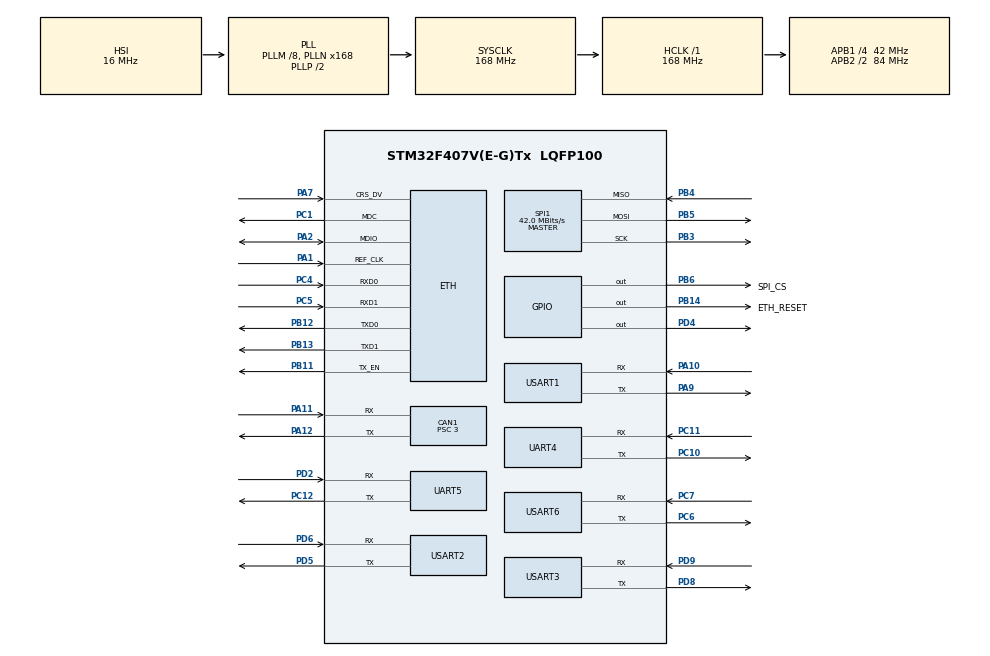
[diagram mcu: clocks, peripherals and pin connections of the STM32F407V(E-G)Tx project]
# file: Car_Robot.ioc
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CAN1.BS1=CAN_BS1_11TQ
CAN1.BS2=CAN_BS2_2TQ
CAN1.CalculateBaudRate=1000000
CAN1.CalculateTimeBit=1000
CAN1.CalculateTimeQuantum=71.42857142857143
CAN1.Prescaler=3
CAN1.SJW=CAN_SJW_1TQ
Dma.Request0=USART2_RX
Dma.USART2_RX.0.Direction=DMA_PERIPH_TO_MEMORY
Dma.USART2_RX.0.FIFOMode=DMA_FIFOMODE_DISABLE
Dma.USART2_RX.0.Instance=DMA1_Stream5
Dma.USART2_RX.0.MemDataAlignment=DMA_MDATAALIGN_BYTE
Dma.USART2_RX.0.MemInc=DMA_MINC_ENABLE
Dma.USART2_RX.0.Mode=DMA_NORMAL
Dma.USART2_RX.0.PeriphDataAlignment=DMA_PDATAALIGN_BYTE
Dma.USART2_RX.0.PeriphInc=DMA_PINC_DISABLE
Dma.USART2_RX.0.Priority=DMA_PRIORITY_LOW
ETH.MediaInterface=HAL_ETH_RMII_MODE
FREERTOS.Tasks01=defaultTask,24,256,StartDefaultTask,Default,NULL,Dynamic,NULL,NULL
FREERTOS.configCHECK_FOR_STACK_OVERFLOW=2
FREERTOS.configTOTAL_HEAP_SIZE=32768
FREERTOS.configUSE_MALLOC_FAILED_HOOK=1
LWIP.BSP.number=1
LWIP.ETH_RX_BUFFER_CNT=16
LWIP.GATEWAY_ADDRESS=192.168.100.001
LWIP.IP_ADDRESS=192.168.001.002
LWIP.LWIP_DHCP=0
LWIP.MEM_SIZE=16384
LWIP.NETMASK_ADDRESS=255.255.255.000
LWIP.TCPIP_THREAD_STACKSIZE=2048
LWIP.TCP_WND=4096
LWIP.Version=v2.1.2_Cube
LWIP0.BSP.STBoard=false
LWIP0.BSP.api=BSP_COMPONENT_DRIVER
LWIP0.BSP.component=LAN8742
LWIP0.BSP.instance=LAN8742
LWIP0.BSP.name=Driver_PHY
LWIP0.BSP.semaphore=S_LAN8742
LWIP0.BSP.solution=LAN8742
Mcu.Family=STM32F4
Mcu.Name=STM32F407V(E-G)Tx
Mcu.Package=LQFP100
NVIC.CAN1_RX0_IRQn=true\:5\:0\:false\:false\:true\:true\:true\:true\:true
NVIC.DMA1_Stream5_IRQn=true\:5\:0\:false\:false\:true\:true\:false\:true\:true
NVIC.ETH_IRQn=true\:5\:0\:false\:false\:true\:true\:true\:true\:true
NVIC.PriorityGroup=NVIC_PRIORITYGROUP_4
NVIC.TIM6_DAC_IRQn=true\:15\:0\:false\:false\:true\:false\:false\:true\:true
NVIC.TimeBase=TIM6_DAC_IRQn
NVIC.TimeBaseIP=TIM6
NVIC.UART4_IRQn=true\:5\:0\:false\:false\:true\:true\:true\:true\:true
NVIC.UART5_IRQn=true\:5\:0\:false\:false\:true\:true\:true\:true\:true
NVIC.USART1_IRQn=true\:5\:0\:false\:false\:true\:true\:true\:true\:true
NVIC.USART2_IRQn=true\:5\:0\:false\:false\:true\:true\:true\:true\:true
NVIC.USART3_IRQn=true\:5\:0\:false\:false\:true\:true\:true\:true\:true
NVIC.USART6_IRQn=true\:5\:0\:false\:false\:true\:true\:true\:true\:true
PA1.Mode=RMII
PA1.Signal=ETH_REF_CLK
PA10.Mode=Asynchronous
PA10.Signal=USART1_RX
PA11.Mode=CAN_Activate
PA11.Signal=CAN1_RX
PA12.Mode=CAN_Activate
PA12.Signal=CAN1_TX
PA13.Mode=Serial_Wire
PA13.Signal=SYS_JTMS-SWDIO
PA14.Mode=Serial_Wire
PA14.Signal=SYS_JTCK-SWCLK
PA2.Mode=RMII
PA2.Signal=ETH_MDIO
PA7.Mode=RMII
PA7.Signal=ETH_CRS_DV
PA9.Mode=Asynchronous
PA9.Signal=USART1_TX
PB11.Mode=RMII
PB11.Signal=ETH_TX_EN
PB12.Mode=RMII
PB12.Signal=ETH_TXD0
PB13.Mode=RMII
PB13.Signal=ETH_TXD1
PB14.GPIO_Label=ETH_RESET
PB14.GPIO_PuPd=GPIO_PULLUP
PB14.GPIO_Speed=GPIO_SPEED_FREQ_VERY_HIGH
PB14.PinState=GPIO_PIN_SET
PB14.Signal=GPIO_Output
PB3.Mode=Full_Duplex_Master
PB3.Signal=SPI1_SCK
PB4.Mode=Full_Duplex_Master
PB4.Signal=SPI1_MISO
PB5.Mode=Full_Duplex_Master
PB5.Signal=SPI1_MOSI
PB6.GPIO_Label=SPI_CS
PB6.Signal=GPIO_Output
PC1.Mode=RMII
PC1.Signal=ETH_MDC
PC10.Mode=Asynchronous
PC10.Signal=UART4_TX
PC11.Mode=Asynchronous
PC11.Signal=UART4_RX
PC12.Mode=Asynchronous
PC12.Signal=UART5_TX
PC4.Mode=RMII
PC4.Signal=ETH_RXD0
PC5.Mode=RMII
PC5.Signal=ETH_RXD1
PC6.Mode=Asynchronous
PC6.Signal=USART6_TX
PC7.Mode=Asynchronous
PC7.Signal=USART6_RX
PD2.Mode=Asynchronous
PD2.Signal=UART5_RX
PD4.Signal=GPIO_Output
PD5.Mode=Asynchronous
PD5.Signal=USART2_TX
PD6.Mode=Asynchronous
PD6.Signal=USART2_RX
PD8.Mode=Asynchronous
PD8.Signal=USART3_TX
PD9.Mode=Asynchronous
PD9.Signal=USART3_RX
PH0-OSC_IN.Mode=HSE-External-Oscillator
PH0-OSC_IN.Signal=RCC_OSC_IN
PH1-OSC_OUT.Mode=HSE-External-Oscillator
PH1-OSC_OUT.Signal=RCC_OSC_OUT
ProjectManager.HeapSize=0x200
ProjectManager.StackSize=0x400
ProjectManager.TargetToolchain=MDK-ARM V5.32
RCC.48MHZClocksFreq_Value=84000000
RCC.AHBFreq_Value=168000000
RCC.APB1CLKDivider=RCC_HCLK_DIV4
RCC.APB1Freq_Value=42000000
RCC.APB1TimFreq_Value=84000000
RCC.APB2CLKDivider=RCC_HCLK_DIV2
RCC.APB2Freq_Value=84000000
RCC.APB2TimFreq_Value=168000000
RCC.CortexFreq_Value=168000000
RCC.HCLKFreq_Value=168000000
RCC.HSE_VALUE=8000000
RCC.HSI_VALUE=16000000
RCC.LSE_VALUE=32768
RCC.PLLM=8
RCC.PLLN=168
RCC.SYSCLKFreq_VALUE=168000000
RCC.SYSCLKSource=RCC_SYSCLKSOURCE_PLLCLK
RCC.VCOOutputFreq_Value=336000000
SPI1.CalculateBaudRate=42.0 MBits/s
SPI1.Direction=SPI_DIRECTION_2LINES
SPI1.Mode=SPI_MODE_MASTER
SPI1.VirtualType=VM_MASTER
UART4.VirtualMode=Asynchronous
UART5.VirtualMode=Asynchronous
USART1.VirtualMode=VM_ASYNC
USART2.VirtualMode=VM_ASYNC
USART3.VirtualMode=VM_ASYNC
USART6.VirtualMode=VM_ASYNC
VP_FREERTOS_VS_CMSIS_V2.Mode=CMSIS_V2
VP_LWIP_VS_Enabled.Mode=Enabled
VP_SYS_VS_tim6.Mode=TIM6
board=custom

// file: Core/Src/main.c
/* USER CODE BEGIN Header */
/**
  ******************************************************************************
  * @file           : main.c
  * @brief          : Main program body
  ******************************************************************************
  * @attention
  *
  * Copyright (c) 2026 STMicroelectronics.
  * All rights reserved.
  *
  * This software is licensed under terms that can be found in the LICENSE file
  * in the root directory of this software component.
  * If no LICENSE file comes with this software, it is provided AS-IS.
  *
  ******************************************************************************
  */
/* USER CODE END Header */
#include "main.h"
#include "cmsis_os.h"
#include "can.h"
#include "dma.h"
#include "lwip.h"
#include "spi.h"
#include "usart.h"
#include "gpio.h"

/* USER CODE BEGIN Includes */
#include <stdio.h>
/* USER CODE END Includes */

void SystemClock_Config(void);
void MX_FREERTOS_Init(void);

int main(void)
{

  /* MCU Configuration--------------------------------------------------------*/

  /* Reset of all peripherals, Initializes the Flash interface and the Systick. */
  HAL_Init();

  /* Configure the system clock */
  SystemClock_Config();

  /* Initialize all configured peripherals */
  MX_GPIO_Init();
  MX_DMA_Init();
  MX_CAN1_Init();
  MX_UART4_Init();
  MX_UART5_Init();
  MX_USART1_UART_Init();
  MX_USART2_UART_Init();
  MX_USART3_UART_Init();
  MX_SPI1_Init();
  MX_USART6_UART_Init();

  /* Init scheduler */
  osKernelInitialize();  /* Call init function for freertos objects (in cmsis_os2.c) */
  MX_FREERTOS_Init();

  /* Start scheduler */
  osKernelStart();

  /* We should never get here as control is now taken by the scheduler */

  /* Infinite loop */
  while (1)
  {

  }
}

void SystemClock_Config(void)
{
  RCC_OscInitTypeDef RCC_OscInitStruct = {0};
  RCC_ClkInitTypeDef RCC_ClkInitStruct = {0};

  /** Configure the main internal regulator output voltage
  */
  __HAL_RCC_PWR_CLK_ENABLE();
  __HAL_PWR_VOLTAGESCALING_CONFIG(PWR_REGULATOR_VOLTAGE_SCALE1);

  /** Initializes the RCC Oscillators according to the specified parameters
  * in the RCC_OscInitTypeDef structure.
  */
  RCC_OscInitStruct.OscillatorType = RCC_OSCILLATORTYPE_HSI;
  RCC_OscInitStruct.HSIState = RCC_HSI_ON;
  RCC_OscInitStruct.HSICalibrationValue = RCC_HSICALIBRATION_DEFAULT;
  RCC_OscInitStruct.PLL.PLLState = RCC_PLL_ON;
  RCC_OscInitStruct.PLL.PLLSource = RCC_PLLSOURCE_HSI;
  RCC_OscInitStruct.PLL.PLLM = 8;
  RCC_OscInitStruct.PLL.PLLN = 168;
  RCC_OscInitStruct.PLL.PLLP = RCC_PLLP_DIV2;
  RCC_OscInitStruct.PLL.PLLQ = 4;
  if (HAL_RCC_OscConfig(&RCC_OscInitStruct) != HAL_OK)
  {
    Error_Handler();
  }

  /** Initializes the CPU, AHB and APB buses clocks
  */
  RCC_ClkInitStruct.ClockType = RCC_CLOCKTYPE_HCLK|RCC_CLOCKTYPE_SYSCLK
                              |RCC_CLOCKTYPE_PCLK1|RCC_CLOCKTYPE_PCLK2;
  RCC_ClkInitStruct.SYSCLKSource = RCC_SYSCLKSOURCE_PLLCLK;
  RCC_ClkInitStruct.AHBCLKDivider = RCC_SYSCLK_DIV1;
  RCC_ClkInitStruct.APB1CLKDivider = RCC_HCLK_DIV4;
  RCC_ClkInitStruct.APB2CLKDivider = RCC_HCLK_DIV2;

  if (HAL_RCC_ClockConfig(&RCC_ClkInitStruct, FLASH_LATENCY_5) != HAL_OK)
  {
    Error_Handler();
  }
}

/* USER CODE BEGIN 4 */

struct __FILE
{
  int handle;
  /* Whatever you require here. If the only file you are using is */
  /* standard output using printf() for debugging, no file handling */
  /* is required. */
};
/* FILE is typedef'd in stdio.h. */
FILE __stdout;
int fputc(int ch, FILE *f)
{
  /* Your implementation of fputc(). */
	HAL_UART_Transmit(&huart1,(uint8_t *)&ch,1,HAL_MAX_DELAY);
  return ch;
}

/* USER CODE END 4 */

void HAL_TIM_PeriodElapsedCallback(TIM_HandleTypeDef *htim)
{
  if (htim->Instance == TIM6)
  {
    HAL_IncTick();
  }
}

void Error_Handler(void)
{
  __disable_irq();
  while (1)
  {
  }
}

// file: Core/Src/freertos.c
/* USER CODE BEGIN Header */
/**
  ******************************************************************************
  * File Name          : freertos.c
  * Description        : Code for freertos applications
  ******************************************************************************
  * @attention
  *
  * Copyright (c) 2026 STMicroelectronics.
  * All rights reserved.
  *
  * This software is licensed under terms that can be found in the LICENSE file
  * in the root directory of this software component.
  * If no LICENSE file comes with this software, it is provided AS-IS.
  *
  ******************************************************************************
  */
/* USER CODE END Header */

#include "FreeRTOS.h"
#include "task.h"
#include "main.h"
#include "cmsis_os.h"

/* USER CODE BEGIN Includes */
#include <stdio.h>
#include "log.h"
#include "app.h"
/* USER CODE END Includes */

/* Definitions for defaultTask */
osThreadId_t defaultTaskHandle;
const osThreadAttr_t defaultTask_attributes = {
  .name = "defaultTask",
  .stack_size = 256 * 4,
  .priority = (osPriority_t) osPriorityNormal,
};

void StartDefaultTask(void *argument);

extern void MX_LWIP_Init(void);
void MX_FREERTOS_Init(void); /* (MISRA C 2004 rule 8.1) */

/* Hook prototypes */
void vApplicationStackOverflowHook(xTaskHandle xTask, signed char *pcTaskName);
void vApplicationMallocFailedHook(void);

/* USER CODE BEGIN 4 */
void vApplicationStackOverflowHook(xTaskHandle xTask, signed char *pcTaskName)
{
   /* Run time stack overflow checking is performed if
   configCHECK_FOR_STACK_OVERFLOW is defined to 1 or 2. This hook function is
   called if a stack overflow is detected. */
	 (void)xTask;

  printf("\r\n[FATAL] stack overflow in task: %s\r\n",
         (pcTaskName != NULL) ? (const char *)pcTaskName : "?");

  taskDISABLE_INTERRUPTS();
  for (;;) { }
}
/* USER CODE END 4 */

/* USER CODE BEGIN 5 */
void vApplicationMallocFailedHook(void)
{
   /* vApplicationMallocFailedHook() will only be called if
   configUSE_MALLOC_FAILED_HOOK is set to 1 in FreeRTOSConfig.h. It is a hook
   function that will get called if a call to pvPortMalloc() fails.
   pvPortMalloc() is called internally by the kernel whenever a task, queue,
   timer or semaphore is created. It is also called by various parts of the
   demo application. If heap_1.c or heap_2.c are used, then the size of the
   heap available to pvPortMalloc() is defined by configTOTAL_HEAP_SIZE in
   FreeRTOSConfig.h, and the xPortGetFreeHeapSize() API function can be used
   to query the size of free heap space that remains (although it does not
   provide information on how the remaining heap might be fragmented). */

	 printf("\r\n[FATAL] malloc failed, free heap = %u bytes\r\n",
         (unsigned)xPortGetFreeHeapSize());

  taskDISABLE_INTERRUPTS();
  for (;;) { }
}
/* USER CODE END 5 */

void MX_FREERTOS_Init(void) {

  /* Create the thread(s) */
  /* creation of defaultTask */
  defaultTaskHandle = osThreadNew(StartDefaultTask, NULL, &defaultTask_attributes);

}

void StartDefaultTask(void *argument)
{
  /* init code for LWIP */
  MX_LWIP_Init();
  /* USER CODE BEGIN StartDefaultTask */
  /* 初始化日志模块（创建互斥锁），必须在打第一条日志之前调用 */
  log_init();

  log_printf("MAIN", "=== Car_Robot boot ===");
  log_printf("MAIN", "SYSCLK = %u Hz, heap free = %u bytes",
             (unsigned)SystemCoreClock, (unsigned)xPortGetFreeHeapSize());

  /* 装配并启动应用各层服务（电机业务 -> CAN -> TCP） */
  App_Init();

  /* Infinite loop */
  for(;;)
  {
    osDelay(5000);
    log_printf("MAIN", "alive, heap free = %u bytes",
               (unsigned)xPortGetFreeHeapSize());
  }
  /* USER CODE END StartDefaultTask */
}
